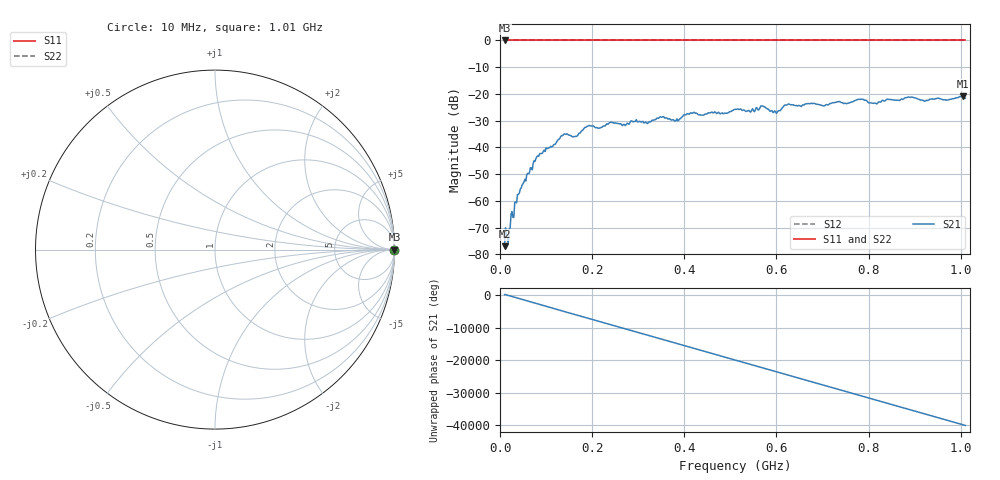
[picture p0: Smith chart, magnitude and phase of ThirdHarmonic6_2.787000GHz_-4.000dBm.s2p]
! 8/17/2025 7:10:53 AM
! C:\ANRITSUVNA\TEMP\TEMP.S2P
! CHANNEL.1
! TR.MEASUREMENT
! RAW.DATA
! RF.CORRECTION.OFF
! AVERAGING.OFF
! IF.BANDWIDTH: 5KHZ
! SWEEPTYPE:  FREQ.SWEEP(Linear)
! Reference Plane Port Info
! PORT:  PORT1  PORT2
! DISTANCE:  0  m  0  m
! TIME:  0  s  0  s
! PHASE.OFFSET:  0  deg.  0  deg.
! LOSS:  0  dB  0  dB
! REF.LOSS:  0  dB  0  dB
! REF.FREQ:  0  Hz  0  Hz
! Power Info
! POWER:  -20  dBm  -20  dBm
! EFF.POWER:  -20  dBm  -20  dBm
! SOURCE.ATTEN:  0  dB  0  dB
! TEST.ATTEN:  0  dB  0  dB
# GHZ S RI R 50.0
! FREQ.GHZ  S11RE  S11IM  S21RE  S21IM  S12RE  S12IM  S22RE  S22IM
!; PortSelection: Port_12
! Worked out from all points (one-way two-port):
!   501 points, 10 MHz to 1.01 GHz, reference 50 ohm
!   highest |S21| = -20.88 dB at 1.004 GHz (marker M1); lowest = -77.0 dB at 10 MHz (marker M2)
!   lowest |S11| = 0.0 dB at 10 MHz (marker M3)
!   |S11| at or under -10 dB: nowhere
!   |S22| runs from 0.0 to 0.0 dB; largest |S21 - S12| = 1.1
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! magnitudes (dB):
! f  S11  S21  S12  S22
! 10 MHz  0.0  -77.0  0.0  0.0
! 18 MHz  0.0  -75.6  0.0  0.0
! 28 MHz  0.0  -66.2  0.0  0.0
! 42 MHz  0.0  -57.1  0.0  0.0
! 78 MHz  0.0  -44.1  0.0  0.0
! 136 MHz  0.0  -35.6  0.0  0.0
! 164 MHz  0.0  -35.9  0.0  0.0
! 178 MHz  0.0  -33.7  0.0  0.0
! 194 MHz  0.0  -31.8  0.0  0.0
! 318 MHz  0.0  -30.8  0.0  0.0
! 344 MHz  0.0  -29.2  0.0  0.0
! 384 MHz  0.0  -29.4  0.0  0.0
! 418 MHz  0.0  -27.2  0.0  0.0
! 510 MHz  0.0  -25.8  0.0  0.0
! 570 MHz  0.0  -24.5  0.0  0.0
! 596 MHz  0.0  -26.4  0.0  0.0
! 622 MHz  0.0  -24.2  0.0  0.0
! 678 MHz  0.0  -23.7  0.0  0.0
! 814 MHz  0.0  -23.4  0.0  0.0
! 844 MHz  0.0  -22.1  0.0  0.0
! 1.004 GHz  0.0  -20.9  0.0  0.0
! 1.01 GHz  0.0  -21.6  0.0  0.0
